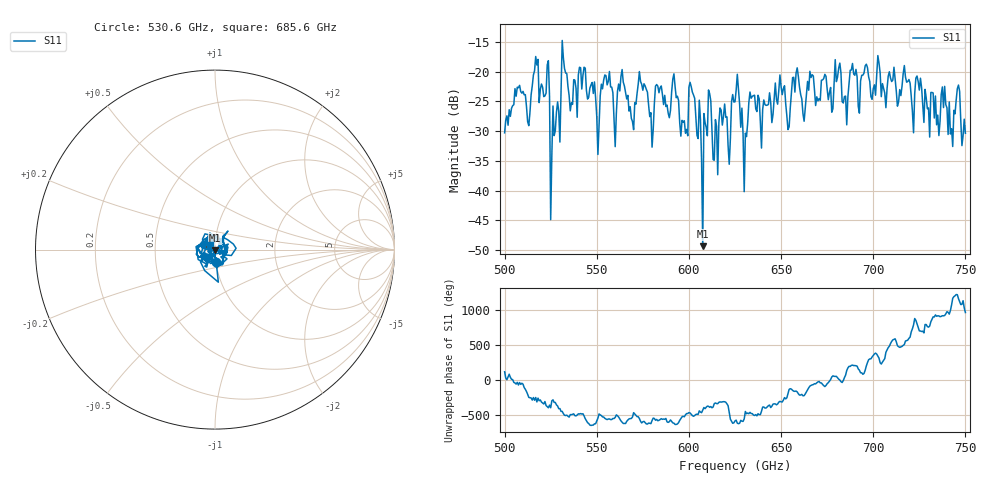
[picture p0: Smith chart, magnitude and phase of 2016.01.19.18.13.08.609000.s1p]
!Created with skrf (http://scikit-rf.org).
# GHz S RI R 50.0
!freq ReS11 ImS11
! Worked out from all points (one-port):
!   401 points, 500 GHz to 750 GHz, reference 50 ohm
!   lowest |S11| = -49.3 dB at 607.5 GHz (marker M1), VSWR 1.01, Z = 50.1 - j0.312 ohm
!   |S11| at or under -10 dB: start of sweep to end of sweep
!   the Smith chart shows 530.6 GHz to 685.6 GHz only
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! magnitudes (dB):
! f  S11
! 500 GHz  -30.3
! 506.9 GHz  -22.6
! 513.1 GHz  -29.1
! 516.9 GHz  -17.5
! 523.1 GHz  -18.9
! 526.2 GHz  -25.8
! 531.2 GHz  -14.8
! 542.5 GHz  -20.6
! 550.6 GHz  -33.9
! 562.5 GHz  -23.3
! 568.8 GHz  -27.8
! 573.8 GHz  -21.7
! 579.4 GHz  -26.9
! 583.1 GHz  -22.5
! 593.8 GHz  -24.1
! 598.1 GHz  -30.4
! 601.9 GHz  -23.5
! 607.5 GHz  -49.3
! 610.6 GHz  -23.1
! 614.4 GHz  -28.1
! 625 GHz  -25.1
! 630.6 GHz  -30.4
! 634.4 GHz  -24.2
! 656.2 GHz  -21.0
! 687.5 GHz  -19.8
! 718.8 GHz  -21.7
! 745.6 GHz  -22.9
! 750 GHz  -30.4
